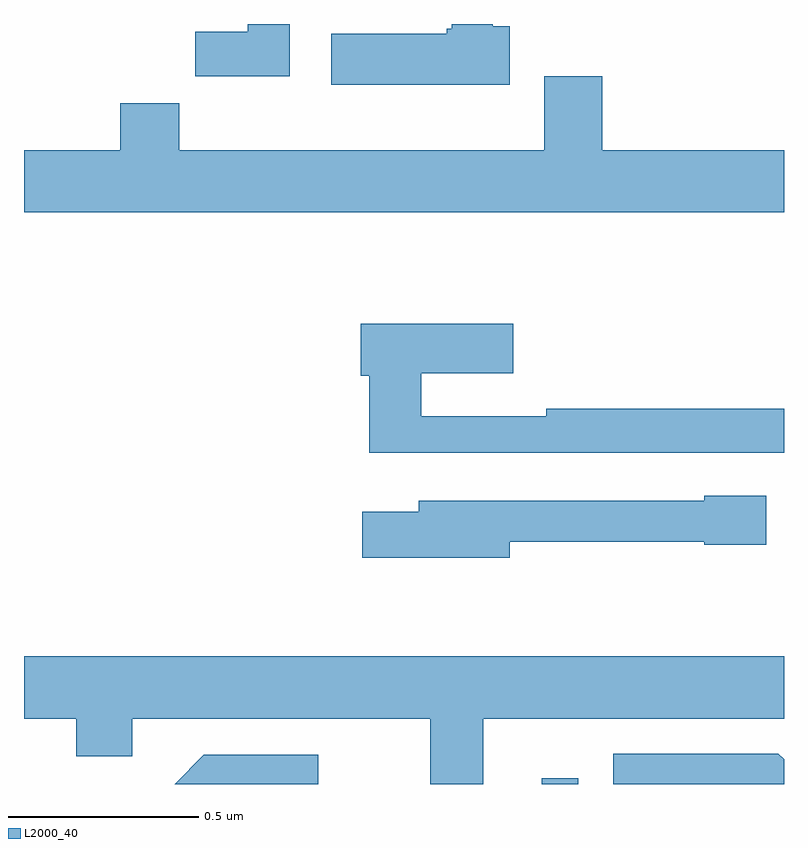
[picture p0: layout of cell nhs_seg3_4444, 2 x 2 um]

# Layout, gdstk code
import gdstk
lib = gdstk.Library(unit=1e-6, precision=1e-09)
def R(c, l, rs):  # rectangles x0, y0, x1, y1
    for r in rs: c.add(gdstk.rectangle(r[:2], r[2:], *l))
def P(c, l, *ps):  # polygons
    for p in ps: c.add(gdstk.Polygon(p, *l))
L2000_40 = (2000, 40)

nhs_seg3_4444 = lib.new_cell('nhs_seg3_4444')
R(nhs_seg3_4444, L2000_40, [(167.363,711.4,167.459,711.415)])
P(nhs_seg3_4444, L2000_40, [(166.699,713.4),(166.589,713.4),(166.589,713.38),(166.45,713.38),(166.45,713.262),(166.699,713.262)],
  [(167.278,713.394),(167.233,713.394),(167.233,713.4),(167.126,713.4),(167.126,713.388),(167.113,713.388),(167.113,713.374),(166.809,713.374),(166.809,713.24),(167.278,713.24)],
  [(166.253,713.192),(166.253,713.068),(166,713.068),(166,712.904),(168,712.904),(168,713.068),(167.522,713.068),(167.522,713.263),(167.369,713.263),(167.369,713.068),(166.409,713.068),(166.409,713.192)],
  [(168,712.388),(167.374,712.388),(167.374,712.368),(167.045,712.368),(167.045,712.481),(167.287,712.481),(167.287,712.611),(166.886,712.611),(166.886,712.474),(166.909,712.474),(166.909,712.272),(168,712.272)],
  [(167.278,712.038),(167.79,712.038),(167.79,712.03),(167.953,712.03),(167.953,712.159),(167.79,712.159),(167.79,712.146),(167.039,712.146),(167.039,712.117),(166.89,712.117),(166.89,711.995),(167.278,711.995)],
  [(167.209,711.572),(168,711.572),(168,711.736),(166,711.736),(166,711.572),(166.138,711.572),(166.138,711.473),(166.285,711.473),(166.285,711.572),(167.069,711.572),(167.069,711.4),(167.209,711.4)],
  [(168,711.465),(167.985,711.48),(167.55,711.48),(167.55,711.4),(168,711.4)],
  [(166.774,711.477),(166.473,711.477),(166.397,711.4),(166.774,711.4)])

lib.write_gds('nhs_seg3_4444.gds')
